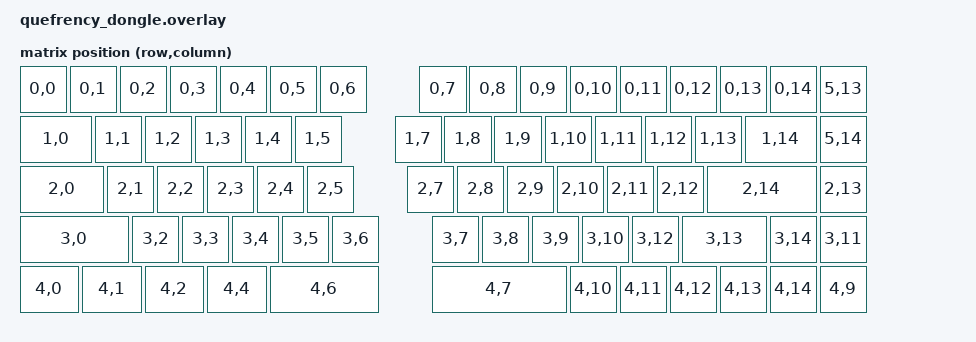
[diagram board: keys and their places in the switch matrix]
#include <dt-bindings/zmk/matrix_transform.h>
#include "physical_layouts.dtsi"

zephyr_udc0: &usbd {
  status = "okay";
};

/ {

  chosen {
    zmk,kscan            = &mock_kscan;
    zmk,physical-layout  = &split_65_split_bs_layout;
  };

  mock_kscan: mock_kscan_0 {
    compatible = "zmk,kscan-mock";
    columns = <0>;
    rows = <0>;
    events = <0>;
  };

  split_65_split_bs_transform: split_65_split_bs_transform {
    compatible = "zmk,matrix-transform";
    columns = <16>;
    rows = <6>;
    map = <
RC(0,0) RC(0,1) RC(0,2) RC(0,3) RC(0,4) RC(0,5) RC(0,6)   /**/  RC(0,7) RC(0,8) RC(0,9) RC(0,10) RC(0,11) RC(0,12) RC(0,13) RC(0,14) RC(5,13)
RC(1,0)     RC(1,1) RC(1,2) RC(1,3) RC(1,4) RC(1,5)       /**/RC(1,7) RC(1,8) RC(1,9) RC(1,10) RC(1,11) RC(1,12) RC(1,13) RC(1,14)   RC(5,14)
RC(2,0)       RC(2,1) RC(2,2) RC(2,3) RC(2,4) RC(2,5)     /**/ RC(2,7) RC(2,8) RC(2,9) RC(2,10) RC(2,11) RC(2,12) RC(2,14)           RC(2,13)
RC(3,0)          RC(3,2) RC(3,3) RC(3,4) RC(3,5) RC(3,6)  /**/   RC(3,7) RC(3,8) RC(3,9) RC(3,10) RC(3,12) RC(3,13)         RC(3,14) RC(3,11)
RC(4,0)  RC(4,1)  RC(4,2)         RC(4,4)         RC(4,6) /**/   RC(4,7)                RC(4,10) RC(4,11) RC(4,12) RC(4,13) RC(4,14) RC(4,9)
    >;
  };

  split_65_split_bs_layout: split_65_split_bs_layout {
    compatible = "zmk,physical-layout";
    display-name = "65% Layout (Split Backspace)";
    transform = <&split_65_split_bs_transform>;
    keys  //                     w   h    x    y     rot    rx    ry
      // ROW 1  (left)
      = <&key_physical_attrs   100 100    0    0       0     0     0> // ESC
      , <&key_physical_attrs   100 100  100    0       0     0     0> // 1
      , <&key_physical_attrs   100 100  200    0       0     0     0> // 2
      , <&key_physical_attrs   100 100  300    0       0     0     0> // 3
      , <&key_physical_attrs   100 100  400    0       0     0     0> // 4
      , <&key_physical_attrs   100 100  500    0       0     0     0> // 5
      , <&key_physical_attrs   100 100  600    0       0     0     0> // 6
      //        (right)
      , <&key_physical_attrs   100 100  800    0       0     0     0> // 7
      , <&key_physical_attrs   100 100  900    0       0     0     0> // 8
      , <&key_physical_attrs   100 100 1000    0       0     0     0> // 9
      , <&key_physical_attrs   100 100 1100    0       0     0     0> // 0
      , <&key_physical_attrs   100 100 1200    0       0     0     0> // - _
      , <&key_physical_attrs   100 100 1300    0       0     0     0> // = +
      , <&key_physical_attrs   100 100 1400    0       0     0     0> // BS
      , <&key_physical_attrs   100 100 1500    0       0     0     0> // # ~
      , <&key_physical_attrs   100 100 1600    0       0     0     0> // HOME
      // ROW 2  (left)
      , <&key_physical_attrs   150 100    0  100       0     0     0> // TAB
      , <&key_physical_attrs   100 100  150  100       0     0     0> // Q
      , <&key_physical_attrs   100 100  250  100       0     0     0> // W
      , <&key_physical_attrs   100 100  350  100       0     0     0> // E
      , <&key_physical_attrs   100 100  450  100       0     0     0> // R
      , <&key_physical_attrs   100 100  550  100       0     0     0> // T
      //        (right)
      , <&key_physical_attrs   100 100  750  100       0     0     0> // Y
      , <&key_physical_attrs   100 100  850  100       0     0     0> // U
      , <&key_physical_attrs   100 100  950  100       0     0     0> // I
      , <&key_physical_attrs   100 100 1050  100       0     0     0> // O
      , <&key_physical_attrs   100 100 1150  100       0     0     0> // P
      , <&key_physical_attrs   100 100 1250  100       0     0     0> // [
      , <&key_physical_attrs   100 100 1350  100       0     0     0> // ]
      , <&key_physical_attrs   150 100 1450  100       0     0     0> // \ |
      , <&key_physical_attrs   100 100 1600  100       0     0     0> // END
      // ROW 3  (left)
      , <&key_physical_attrs   175 100    0  200       0     0     0> // CAPS
      , <&key_physical_attrs   100 100  175  200       0     0     0> // A
      , <&key_physical_attrs   100 100  275  200       0     0     0> // S
      , <&key_physical_attrs   100 100  375  200       0     0     0> // D
      , <&key_physical_attrs   100 100  475  200       0     0     0> // F
      , <&key_physical_attrs   100 100  575  200       0     0     0> // G
      //        (right)
      , <&key_physical_attrs   100 100  775  200       0     0     0> // H
      , <&key_physical_attrs   100 100  875  200       0     0     0> // J
      , <&key_physical_attrs   100 100  975  200       0     0     0> // K
      , <&key_physical_attrs   100 100 1075  200       0     0     0> // L
      , <&key_physical_attrs   100 100 1175  200       0     0     0> // ; :
      , <&key_physical_attrs   100 100 1275  200       0     0     0> // ' "
      , <&key_physical_attrs   225 100 1375  200       0     0     0> // ENTER
      , <&key_physical_attrs   100 100 1600  200       0     0     0> // PGUP
      // ROW 4  (left)
      , <&key_physical_attrs   225 100    0  300       0     0     0> // SHIFT
      , <&key_physical_attrs   100 100  225  300       0     0     0> // Z
      , <&key_physical_attrs   100 100  325  300       0     0     0> // X
      , <&key_physical_attrs   100 100  425  300       0     0     0> // C
      , <&key_physical_attrs   100 100  525  300       0     0     0> // V
      , <&key_physical_attrs   100 100  625  300       0     0     0> // B
      //        (right)
      , <&key_physical_attrs   100 100  825  300       0     0     0> // N
      , <&key_physical_attrs   100 100  925  300       0     0     0> // M
      , <&key_physical_attrs   100 100 1025  300       0     0     0> // , <
      , <&key_physical_attrs   100 100 1125  300       0     0     0> // . >
      , <&key_physical_attrs   100 100 1225  300       0     0     0> // / ?
      , <&key_physical_attrs   175 100 1325  300       0     0     0> // SHIFT
      , <&key_physical_attrs   100 100 1500  300       0     0     0> // UP
      , <&key_physical_attrs   100 100 1600  300       0     0     0> // PGDN
      // ROW 5  (left)
      , <&key_physical_attrs   125 100    0  400       0     0     0> // CTRL
      , <&key_physical_attrs   125 100  125  400       0     0     0> // WIN
      , <&key_physical_attrs   125 100  250  400       0     0     0> // ALT
      , <&key_physical_attrs   125 100  375  400       0     0     0> // FN
      , <&key_physical_attrs   225 100  500  400       0     0     0> // SPACE
      //        (right)
      , <&key_physical_attrs   275 100  825  400       0     0     0> // SPACE
      , <&key_physical_attrs   100 100 1100  400       0     0     0> // WIN
      , <&key_physical_attrs   100 100 1200  400       0     0     0> // ALT
      , <&key_physical_attrs   100 100 1300  400       0     0     0> // CTRL
      , <&key_physical_attrs   100 100 1400  400       0     0     0> // LEFT
      , <&key_physical_attrs   100 100 1500  400       0     0     0> // DOWN
      , <&key_physical_attrs   100 100 1600  400       0     0     0> // RIGHT
      ;
  };
};

// vim: ft=dts sw=2 ts=2 et:
